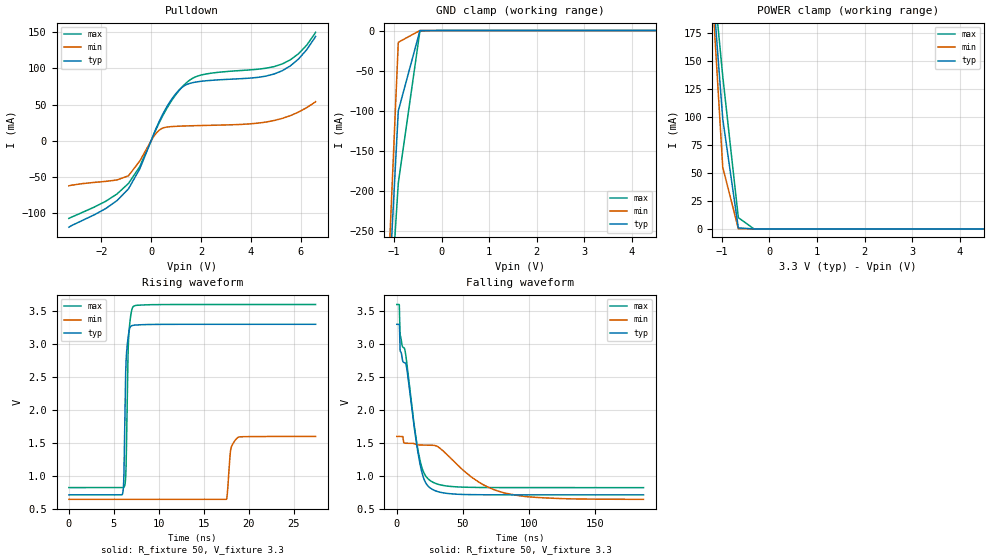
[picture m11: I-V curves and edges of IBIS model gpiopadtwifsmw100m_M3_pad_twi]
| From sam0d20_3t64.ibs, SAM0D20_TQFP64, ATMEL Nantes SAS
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|   MODEL : gpiopadtwifsmw100m_M3_pad_twi
[Model] gpiopadtwifsmw100m_M3_pad_twi
Model_type I/O_open_sink
Vinl  =  0.99
Vinh  =  2.31
Vmeas =  1.650
| Capacitance   typ   min   max
C_comp   1.31487p   1.30205p   1.37017p
| Variables   typ   min   max
[GND Clamp Reference]   0   0   0
[POWER Clamp Reference]   3.3   1.6   3.6
[Pulldown Reference]   0   0   0
[Pullup Reference]   3.3   1.6   3.6
[Temperature Range]   25   -40   105
[Voltage Range]   3.3   1.6   3.6
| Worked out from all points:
|   slope of the pulldown table from 0 to 0.495 V, typ, clamps not added: 12.9 ohm
|   rising waveform, R_fixture 50, V_fixture 3.3: 20-80 % time 226ps typ, 325ps min, 231ps max; typ from 0.715 V to 3.3 V
|   falling waveform, R_fixture 50, V_fixture 3.3: 20-80 % time 13ns typ, 35.1ns min, 12.7ns max; typ from 3.3 V to 0.715 V
[GND Clamp]
| Voltage   I(typ)   I(min)   I(max)
-3.3V     -2.838A    -3.437A    -2.475A
-1.364V   -617mA     -642.7mA   -618.8mA
-909.1mV  -100.4mA   -14.7mA    -190.6mA
-454.5mV  -23.83uA   -258.7nA   -415.3uA
6.6V      0A         0A         0A
[POWER Clamp]
| Voltage   I(typ)   I(min)   I(max)
-3.3V     1.745A     2.097A     1.488A
-1.309V   280.3mA    286mA      281.8mA
-981.8mV  98.06mA    55.04mA    136.1mA
-654.5mV  963.1uA    216.9uA    10.07mA
-327.3mV  1.355uA    8.424nA    98.08uA
6.6V      0A         0A         0A
[Pulldown]
| Voltage   I(typ)   I(min)   I(max)
-3.3V     -119mA     -61.98mA   -107mA
-1.818V   -93.33mA   -55.91mA   -83.28mA
-909.1mV  -66.28mA   -48.18mA   -58.8mA
-454.5mV  -38.59mA   -27.85mA   -35.52mA
309.4mV   25.56mA    14.14mA    23.9mA
773.4mV   54.8mA     19.53mA    52.8mA
1.238V    73.69mA    20.38mA    73.94mA
1.598V    79.67mA    20.77mA    84.92mA
2.062V    82.36mA    21.18mA    91.19mA
4.936V    92.21mA    28.04mA    102.4mA
5.918V    113mA      39.7mA     120.2mA
6.6V      144.1mA    54mA       149.7mA
[Ramp]
dV/dt_r   1.55088/0.226036n  0.57176/0.325201n  1.66516/0.230555n
dV/dt_f   1.55088/13.0216n  0.57176/35.1169n  1.66516/12.6813n
R_load = 50
[Rising Waveform]
R_fixture = 50
V_fixture = 3.3
V_fixture_min = 1.6
V_fixture_max = 3.6
| Time   V(typ)   V(min)   V(max)
0s        715.2mV    647.1mV    824.7mV
5.92ns    717.2mV    647.1mV    824.7mV
6.172ns   1.461V     647.1mV    842.8mV
6.332ns   2.66V      647.1mV    1.043V
6.628ns   3.151V     647.1mV    3.065V
7.182ns   3.285V     647.1mV    3.572V
17.51ns   3.3V       647.1mV    3.6V
17.99ns   3.3V       1.41V      3.6V
18.72ns   3.3V       1.58V      3.6V
27.4ns    3.3V       1.6V       3.6V
[Falling Waveform]
R_fixture = 50
V_fixture = 3.3
V_fixture_min = 1.6
V_fixture_max = 3.6
| Time   V(typ)   V(min)   V(max)
|[Package Model]   There is an optional, fairly complex Package Modeling
|   section here in the file if you want it.  You will have
|   to add it yourself, because SiliconSmart has no
|   notion of packaging.  Please see the IBIS Specification
|   for details.
0s        3.3V       1.6V       3.6V
1.873ns   3.299V     1.599V     3.599V
2.513ns   2.915V     1.599V     3.151V
7.454ns   2.645V     1.497V     2.738V
16.28ns   1.329V     1.472V     1.372V
20.09ns   983mV      1.47V      1.07V
25ns      824.6mV    1.469V     936.3mV
62.53ns   716.7mV    904mV      826.8mV
82ns      715.4mV    742mV      825.1mV
187.1ns   715.3mV    647.4mV    825mV
